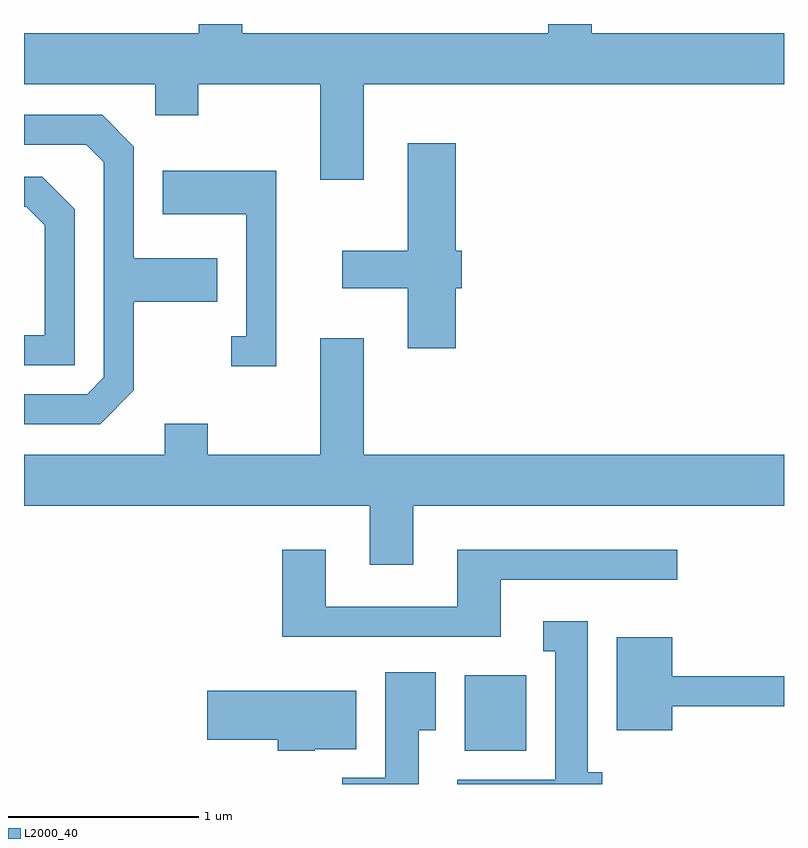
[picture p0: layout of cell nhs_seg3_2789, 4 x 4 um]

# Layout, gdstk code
import gdstk
lib = gdstk.Library(unit=1e-6, precision=1e-09)
def R(c, l, rs):  # rectangles x0, y0, x1, y1
    for r in rs: c.add(gdstk.rectangle(r[:2], r[2:], *l))
def P(c, l, *ps):  # polygons
    for p in ps: c.add(gdstk.Polygon(p, *l))
L2000_40 = (2000, 40)

nhs_seg3_2789 = lib.new_cell('nhs_seg3_2789')
R(nhs_seg3_2789, L2000_40, [(269.931,1118.066,270.254,1118.464)])
P(nhs_seg3_2789, L2000_40, [(269.399,1121.576),(271.611,1121.576),(271.611,1121.844),(270.599,1121.844),(270.599,1121.892),(270.371,1121.892),(270.371,1121.844),(268.759,1121.844),(268.759,1121.892),(268.531,1121.892),(268.531,1121.844),(267.611,1121.844),(267.611,1121.576),(268.301,1121.576),(268.301,1121.411),(268.529,1121.411),(268.529,1121.576),(269.171,1121.576),(269.171,1121.071),(269.399,1121.071)],
  [(268.189,1119.964),(268.189,1120.431),(268.629,1120.431),(268.629,1120.659),(268.189,1120.659),(268.189,1121.247),(268.022,1121.414),(267.611,1121.414),(267.611,1121.256),(267.939,1121.256),(268.031,1121.164),(268.031,1120.032),(267.944,1119.944),(267.611,1119.944),(267.611,1119.786),(268.012,1119.786)],
  [(269.884,1120.501),(269.914,1120.501),(269.914,1120.699),(269.884,1120.699),(269.884,1121.264),(269.631,1121.264),(269.631,1120.699),(269.286,1120.699),(269.286,1120.501),(269.631,1120.501),(269.631,1120.186),(269.884,1120.186)],
  [(268.939,1121.119),(268.341,1121.119),(268.341,1120.891),(268.781,1120.891),(268.781,1120.249),(268.703,1120.249),(268.703,1120.091),(268.939,1120.091)],
  [(267.879,1120.917),(267.707,1121.089),(267.611,1121.089),(267.611,1120.931),(267.624,1120.931),(267.721,1120.834),(267.721,1120.254),(267.611,1120.254),(267.611,1120.096),(267.879,1120.096)],
  [(269.659,1119.356),(271.611,1119.356),(271.611,1119.624),(269.399,1119.624),(269.399,1120.239),(269.171,1120.239),(269.171,1119.624),(268.579,1119.624),(268.579,1119.789),(268.351,1119.789),(268.351,1119.624),(267.611,1119.624),(267.611,1119.356),(269.431,1119.356),(269.431,1119.046),(269.659,1119.046)],
  [(270.119,1118.966),(271.048,1118.966),(271.048,1119.124),(269.891,1119.124),(269.891,1118.824),(269.199,1118.824),(269.199,1119.124),(268.971,1119.124),(268.971,1118.666),(270.119,1118.666)],
  [(270.654,1117.954),(270.579,1117.954),(270.579,1118.749),(270.343,1118.749),(270.343,1118.591),(270.406,1118.591),(270.406,1117.914),(269.891,1117.914),(269.891,1117.892),(270.654,1117.892)],
  [(271.024,1118.301),(271.611,1118.301),(271.611,1118.459),(271.024,1118.459),(271.024,1118.664),(270.731,1118.664),(270.731,1118.176),(271.024,1118.176)],
  [(269.689,1118.176),(269.779,1118.176),(269.779,1118.479),(269.511,1118.479),(269.511,1117.924),(269.286,1117.924),(269.286,1117.892),(269.689,1117.892)],
  [(269.14,1118.076),(269.359,1118.076),(269.359,1118.384),(268.576,1118.384),(268.576,1118.126),(268.946,1118.126),(268.946,1118.066),(269.14,1118.066)])

lib.write_gds('nhs_seg3_2789.gds')
